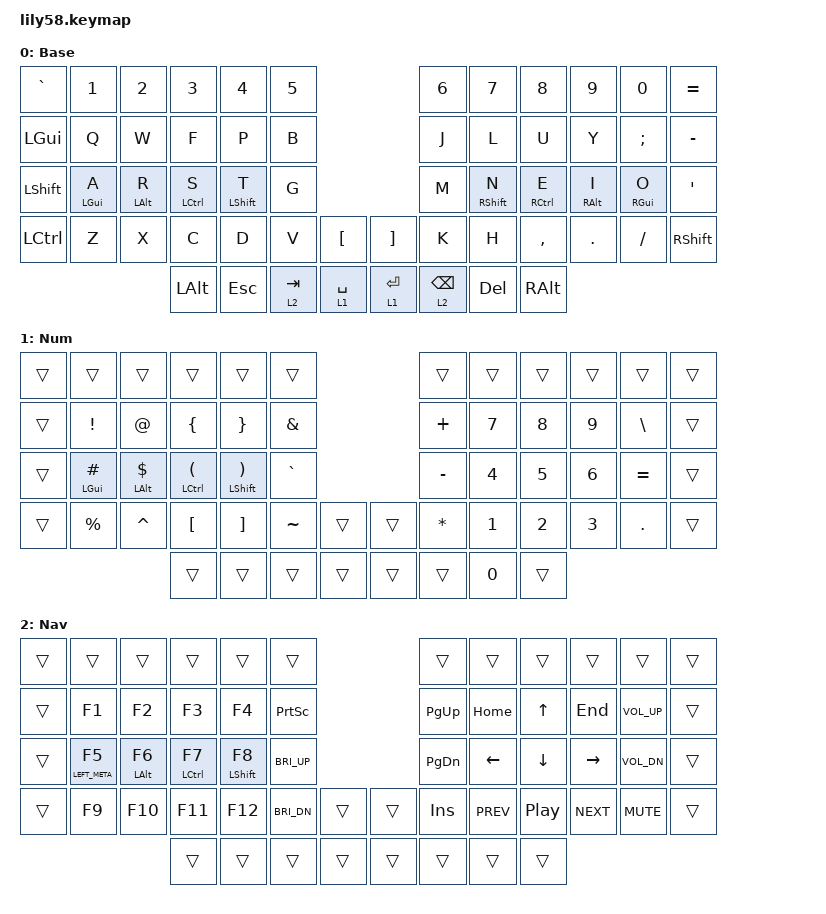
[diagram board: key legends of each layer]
/*
 * Lily58 (nice!nano v2) — Colemak-DH coding keymap
 * Optimized for Vim / Python / C, portable to Corne & Totem.
 *
 * Layers:  0 BASE  1 NUM  2 NAV
 *
 * Key-position reference (0-57), used by the combos below:
 *   Row0  0  1  2  3  4  5      6  7  8  9 10 11
 *   Row1 12 13 14 15 16 17     18 19 20 21 22 23
 *   Row2 24 25 26 27 28 29     30 31 32 33 34 35
 *   Row3 36 37 38 39 40 41  42 43  44 45 46 47 48 49
 *   Thmb          50 51 52 53     54 55 56 57
 */

#include <behaviors.dtsi>
#include <dt-bindings/zmk/keys.h>

#define BASE  0
#define NUM   1
#define NAV   2

/ {
    behaviors {
        // Home-row mods. require-prior-idle-ms is the knob that stops
        // fast-rolling typos from firing modifiers.

        hm: homerow_mods {
            compatible = "zmk,behavior-hold-tap";
            #binding-cells = <2>;
            flavor = "balanced";
            tapping-term-ms = <200>;
            quick-tap-ms = <175>;
            require-prior-idle-ms = <125>;
            bindings = <&kp>, <&kp>;
        };

        bspc_lt: backspace_layer_tap {
            compatible = "zmk,behavior-hold-tap";
            #binding-cells = <2>;
            flavor = "tap-preferred";
            tapping-term-ms = <200>;
            quick-tap-ms = <175>;
            bindings = <&mo>, <&kp>;
        };
    };

    keymap {
        compatible = "zmk,keymap";

        base_layer {
            display-name = "Base";
            bindings = <
&kp GRAVE  &kp N1      &kp N2      &kp N3       &kp N4       &kp N5                               &kp N6           &kp N7       &kp N8       &kp N9      &kp N0      &kp EQUAL
&kp LGUI   &kp Q       &kp W       &kp F        &kp P        &kp B                                &kp J            &kp L        &kp U        &kp Y       &kp SEMI    &kp MINUS
&kp LSHFT  &hm LGUI A  &hm LALT R  &hm LCTRL S  &hm LSHFT T  &kp G                                &kp M            &hm RSHFT N  &hm RCTRL E  &hm RALT I  &hm RGUI O  &kp SQT
&kp LCTRL  &kp Z       &kp X       &kp C        &kp D        &kp V      &kp LBKT       &kp RBKT   &kp K            &kp H        &kp COMMA    &kp DOT     &kp FSLH    &kp RSHFT
                                   &kp LALT     &kp ESC      &lt 2 TAB  &lt 1 SPACE    &lt 1 RET  &bspc_lt 2 BSPC  &kp DEL      &kp RALT
            >;
        };

        num_layer {
            display-name = "Num";
            bindings = <
&trans  &trans         &trans         &trans          &trans           &trans                       &trans     &trans  &trans  &trans  &trans     &trans
&trans  &kp EXCL       &kp AT         &kp LBRC        &kp RBRC         &kp AMPS                     &kp PLUS   &kp N7  &kp N8  &kp N9  &kp BSLH   &trans
&trans  &hm LGUI HASH  &hm LALT DLLR  &hm LCTRL LPAR  &hm LSHIFT RPAR  &kp GRAVE                    &kp MINUS  &kp N4  &kp N5  &kp N6  &kp EQUAL  &trans
&trans  &kp PERCENT    &kp CARET      &kp LBKT        &kp RBKT         &kp TILDE  &trans    &trans  &kp ASTRK  &kp N1  &kp N2  &kp N3  &kp DOT    &trans
                                      &trans          &trans           &trans     &trans    &trans  &trans     &kp N0  &trans
            >;
        };

        nav_layer {
            display-name = "Nav";
            bindings = <
&trans  &trans            &trans           &trans        &trans             &trans                          &trans     &trans      &trans    &trans      &trans        &trans
&trans  &kp F1            &kp F2           &kp F3        &kp F4             &kp PSCRN                       &kp PG_UP  &kp HOME    &kp UP    &kp END     &kp C_VOL_UP  &trans
&trans  &hm LEFT_META F5  &hm LEFT_ALT F6  &hm LCTRL F7  &hm LEFT_SHIFT F8  &kp C_BRI_UP                    &kp PG_DN  &kp LEFT    &kp DOWN  &kp RIGHT   &kp C_VOL_DN  &trans
&trans  &kp F9            &kp F10          &kp F11       &kp F12            &kp C_BRI_DN  &trans    &trans  &kp INS    &kp C_PREV  &kp C_PP  &kp C_NEXT  &kp C_MUTE    &trans
                                           &trans        &trans             &trans        &trans    &trans  &trans     &trans      &trans
            >;
        };
    };
};
